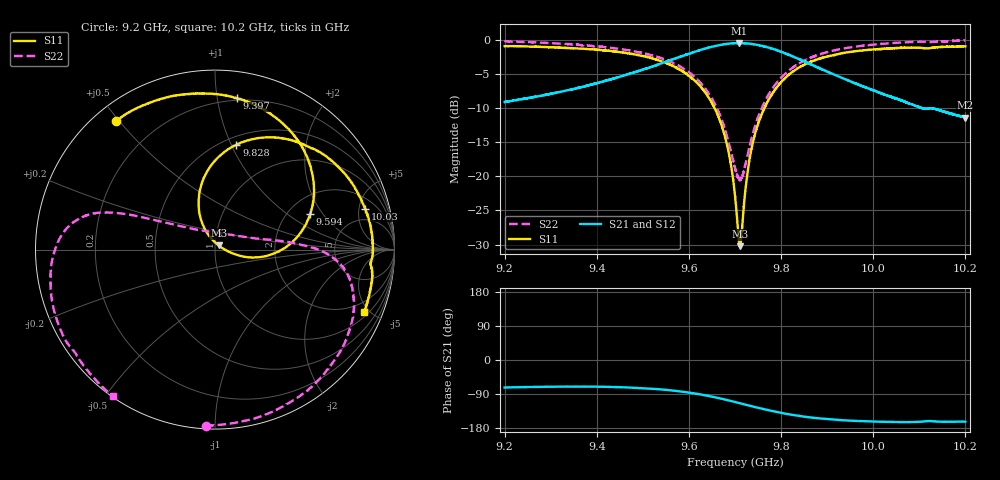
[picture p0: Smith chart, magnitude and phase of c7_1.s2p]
!Agilent Technologies,N5242A,MY51221714,A.09.90.19
!Agilent N5242A: A.09.90.19
!Date: Saturday, March 16, 2024 10:04:59
!Correction: S11(Full 2 Port(1,2))
!S21(Full 2 Port(1,2))
!S12(Full 2 Port(1,2))
!S22(Full 2 Port(1,2))
!S2P File: Measurements: S11, S21, S12, S22:
# Hz S  dB  R 50
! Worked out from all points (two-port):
!   16001 points, 9.2 GHz to 10.2 GHz, reference 50 ohm
!   highest |S21| = -0.43 dB at 9.709 GHz (marker M1); lowest = -11.4 dB at 10.2 GHz (marker M2)
!   |S21| within 3 dB of the highest: 9.538897 GHz to 9.539038 GHz (140.4 kHz wide, 0.00147 % of centre); 9.539 GHz to 9.861 GHz (321.5 MHz wide, 3.31 % of centre)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
!   lowest |S11| = -30.2 dB at 9.711 GHz (marker M3), VSWR 1.06, Z = 52 + j2.39 ohm
!   |S11| at or under -10 dB: 9.656 GHz to 9.764 GHz (107.7 MHz wide, 1.11 % of centre)
!   |S22| runs from -20.6 to 0.0 dB; largest |S21 - S12| = 0.012
!   S11 on the Smith chart (normalised r, x): 9.2 GHz: 0.06, +0.49; 9.397 GHz: 0.18, +1.14; 9.594 GHz: 2.61, +1.53; 9.828 GHz: 0.58, +1.05; 10.03 GHz: 3.14, +5.77; 10.2 GHz: 1.28, -4.67
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9.2e9  -0.89 127.7  -9.08 -72.6  -9.07 -73.2  -0.16 -93.0
9.277688e9  -0.98 110.4  -8.17 -70.9  -8.16 -71.3  -0.36 -71.5
9.366688e9  -1.25 89.4  -6.89 -70.2  -6.88 -70.7  -0.73 -47.9
9.396688e9  -1.39 81.9  -6.37 -70.3  -6.36 -71.0  -0.89 -40.2
9.463938e9  -1.89 63.7  -5.09 -72.3  -5.09 -72.8  -1.44 -24.5
9.533375e9  -2.93 42.5  -3.56 -77.0  -3.56 -77.5  -2.49 -10.5
9.59375e9  -4.93 20.6  -2.14 -85.0  -2.14 -85.5  -4.40 -1.0
9.664062e9  -11.27 -8.1  -0.76 -100.5  -0.75 -100.9  -10.46 10.6
9.685375e9  -16.20 -13.8  -0.53 -106.5  -0.52 -106.9  -14.83 22.7
9.7e9  -22.77 -7.3  -0.45 -110.8  -0.43 -111.4  -18.79 47.0
9.708562e9  -29.42 28.4  -0.43 -113.5  -0.42 -114.0  -20.39 74.5
9.710562e9  -30.24 48.3  -0.44 -114.1  -0.42 -114.6  -20.51 81.8
9.730062e9  -18.07 116.5  -0.51 -120.1  -0.49 -120.7  -16.04 134.4
9.749062e9  -12.52 112.1  -0.70 -125.8  -0.70 -126.4  -11.51 148.6
9.783188e9  -7.63 97.7  -1.30 -135.4  -1.31 -136.0  -6.92 156.3
9.828125e9  -4.50 78.5  -2.47 -145.5  -2.47 -146.0  -3.88 161.2
9.866688e9  -3.12 63.5  -3.62 -152.1  -3.61 -152.6  -2.51 165.5
9.949188e9  -1.73 36.8  -6.03 -160.0  -6.03 -160.5  -1.08 178.5
1.002881e10  -1.24 15.3  -8.10 -163.1  -8.09 -163.8  -0.50 -165.3
1.003338e10  -1.23 14.1  -8.20 -163.2  -8.20 -163.8  -0.46 -164.3
1.010562e10  -1.15 -3.2  -9.98 -162.6  -9.97 -163.1  -0.22 -148.3
1.02e10  -0.91 -22.6  -11.36 -162.6  -11.35 -163.1  -0.05 -124.8
